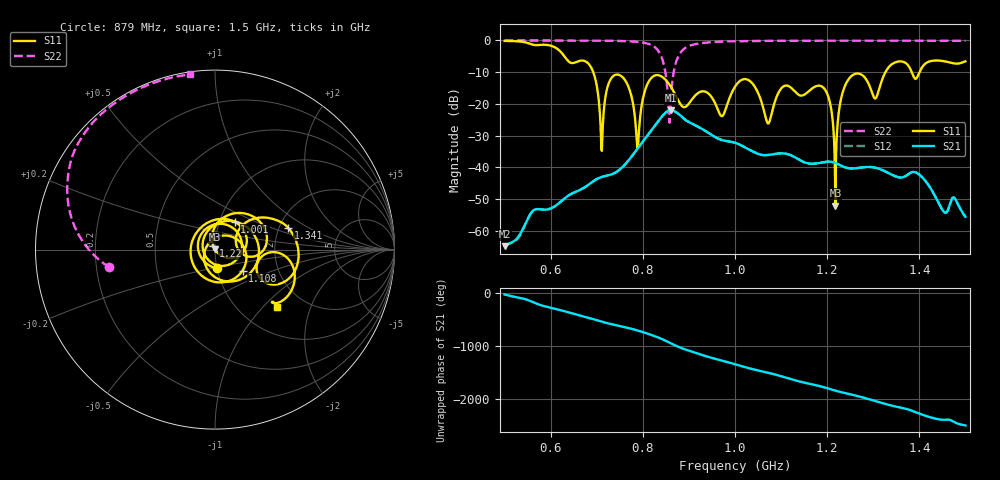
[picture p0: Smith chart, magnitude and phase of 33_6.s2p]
! TOUCHSTONE file generated by CST MICROWAVE STUDIO
! Date and time: Tue Nov 24 13:45:50 2020
! Project name: Scenario_1_Planar_Body_Tissue_Out_of_Line.cst
! Parameters = {dy1=207.6; L_HA=400; Ltissue=700; MT=2.54; Rad_Dielectric=30; Rad_Lower=7.3; Rad_Upper=30; Wtissue=700; a_HA=580; a_WG=246; b_HA=500; b_WG=121; c_HA=0; c_WG=187; d_feed=85; dx1=1039; h_feed=15; h_lower=18; h_upper=40; hfat=3; hgap=25; hmuscle=50; hskin=1.5}
! Header version: 2018
! Port assignment regex: !\s*Touchstone port\s*([0-9]+)\s*=\s*(CST MWS port|CST DS port)\s*([0-9]+|Zmin|Zmax)\s*\(\"(.*)\"\)(\s*mode\s*([0-9]+))?.*
! Touchstone port assignment:
! Touchstone port 1 = CST MWS port 1 ("")
! Touchstone port 2 = CST MWS port 2 ("")
# GHz S DB R 50
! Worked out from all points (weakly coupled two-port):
!   1003 points, 500 MHz to 1.5 GHz, reference 50 ohm
!   highest |S21| = -22.04 dB at 861 MHz (marker M1); lowest = -64.9 dB at 500 MHz (marker M2)
!   lowest |S11| = -52.1 dB at 1.218 GHz (marker M3), VSWR 1.00, Z = 49.9 + j0.241 ohm
!   |S11| at or under -10 dB: 692.3 MHz to 1.327 GHz (634.3 MHz wide, 62.8 % of centre); 1.384 GHz to 1.4 GHz (16.8 MHz wide, 1.21 % of centre)
!   |S22| runs from -25.9 to 0.0 dB; largest |S21 - S12| = 0.0017
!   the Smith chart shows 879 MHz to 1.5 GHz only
!   S11 on the Smith chart (normalised r, x): 879 MHz: 1.00, -0.21; 1.001 GHz: 1.18, +0.38; 1.108 GHz: 1.32, -0.32; 1.22 GHz: 0.98, +0.04; 1.341 GHz: 2.23, +0.67; 1.5 GHz: 1.47, -1.20
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0.5  -0.15 -121.7  -64.91 -23.0  -64.90 -23.0  -0.01 151.2
0.667  -6.34 147.5  -46.91 -69.6  -46.91 -69.6  -0.04 138.4
0.694  -10.73 92.4  -44.27 -133.2  -44.27 -133.2  -0.06 135.5
0.71  -34.09 -5.4  -43.10 -174.3  -43.10 -174.3  -0.08 133.6
0.747  -10.82 145.0  -41.06 107.3  -41.06 107.3  -0.16 128.0
0.788  -33.82 119.8  -34.24 18.6  -34.24 18.6  -0.45 117.6
0.834  -10.98 84.9  -25.35 -117.8  -25.35 -117.8  -3.40 83.4
0.861  -14.65 -5.2  -22.04 133.0  -22.05 133.0  -17.99 -120.3
0.879  -19.50 -82.6  -23.36 61.4  -23.42 60.8  -4.47 -170.6
1  -14.60 58.2  -32.27 97.9  -32.25 97.9  -0.26 140.2
1.001  -14.37 55.0  -32.32 95.3  -32.30 95.3  -0.26 140.1
1.072  -26.22 145.2  -36.12 -62.0  -36.13 -62.0  -0.14 132.2
1.108  -14.30 -37.3  -35.68 -148.5  -35.68 -148.5  -0.12 129.0
1.167  -15.20 79.6  -38.90 79.3  -38.90 79.3  -0.10 124.2
1.2  -16.76 -10.3  -38.25 6.3  -38.25 6.3  -0.09 121.7
1.218  -52.08 104.2  -38.66 -40.3  -38.66 -40.3  -0.09 120.3
1.22  -33.12 114.8  -38.79 -45.3  -38.79 -45.3  -0.09 120.1
1.246  -12.34 57.7  -40.30 -101.2  -40.30 -101.2  -0.09 118.2
1.305  -18.27 16.6  -40.17 121.4  -40.17 121.4  -0.08 113.7
1.334  -8.37 25.3  -41.90 49.6  -41.91 49.6  -0.09 111.5
1.341  -7.43 16.8  -42.42 34.1  -42.42 34.1  -0.09 111.0
1.5  -6.59 -42.7  -55.64 20.5  -55.64 20.5  -0.13 98.0
